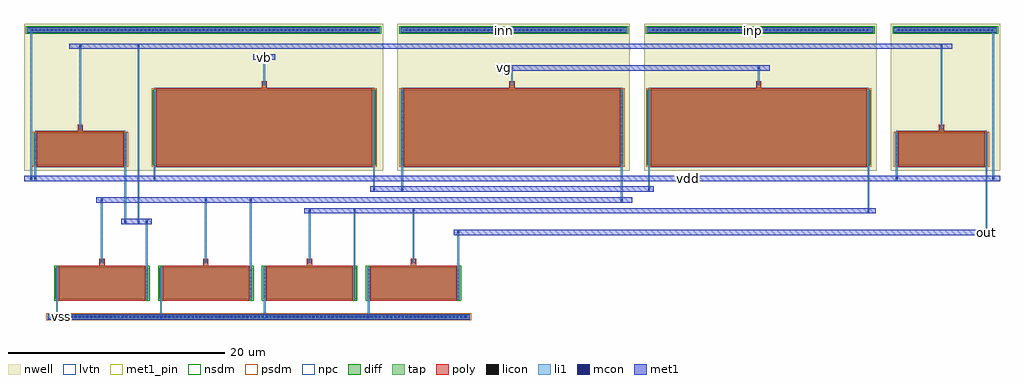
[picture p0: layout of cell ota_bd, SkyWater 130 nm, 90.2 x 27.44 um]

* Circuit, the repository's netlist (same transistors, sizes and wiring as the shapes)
* NGSPICE file created from ota_bd.ext - technology: sky130A

.subckt ota_bd inp inn out vb vg vdd vss
X0 a_400_n2506# vg a_6200_0# inn sky130_fd_pr__pfet_01v8_lvt ad=2.03 pd=14.58 as=2.03 ps=14.58 w=7 l=20
X1 a_4240_n2506# vg a_6200_0# inp sky130_fd_pr__pfet_01v8_lvt ad=2.03 pd=14.58 as=2.03 ps=14.58 w=7 l=20
X2 out a_0_n26# vdd vdd sky130_fd_pr__pfet_01v8_lvt ad=0.87 pd=6.58 as=0.87 ps=6.58 w=3 l=8
X3 a_400_n2506# a_400_n2506# vss vss sky130_fd_pr__nfet_01v8 ad=0.87 pd=6.58 as=0.87 ps=6.58 w=3 l=8
X4 out a_4240_n2506# vss vss sky130_fd_pr__nfet_01v8 ad=0.87 pd=6.58 as=0.87 ps=6.58 w=3 l=8
X5 a_6200_0# vb vdd vdd sky130_fd_pr__pfet_01v8_lvt ad=2.03 pd=14.58 as=2.03 ps=14.58 w=7 l=20
X6 a_0_n26# a_400_n2506# vss vss sky130_fd_pr__nfet_01v8 ad=0.87 pd=6.58 as=0.87 ps=6.58 w=3 l=8
X7 a_4240_n2506# a_4240_n2506# vss vss sky130_fd_pr__nfet_01v8 ad=0.87 pd=6.58 as=0.87 ps=6.58 w=3 l=8
X8 a_0_n26# a_0_n26# vdd vdd sky130_fd_pr__pfet_01v8_lvt ad=0.87 pd=6.58 as=0.87 ps=6.58 w=3 l=8
.ends

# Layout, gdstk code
import gdstk
lib = gdstk.Library(unit=1e-6, precision=1e-09)
def R(c, l, rs):  # rectangles x0, y0, x1, y1
    for r in rs: c.add(gdstk.rectangle(r[:2], r[2:], *l))
def A(c, l, x, y, w, h, nx, ny, dx, dy):  # array of equal rectangles
    R(c, l, [(x+i*dx, y+j*dy, x+i*dx+w, y+j*dy+h) for i in range(nx) for j in range(ny)])
nwell = (64, 20)
diff = (65, 20)
tap = (65, 44)
poly = (66, 20)
licon = (66, 44)
li1 = (67, 20)
mcon = (67, 44)
met1_pin = (68, 16)
met1 = (68, 20)
nsdm = (93, 44)
psdm = (94, 20)
npc = (95, 20)
lvtn = (125, 44)

ota_bd = lib.new_cell('ota_bd')
R(ota_bd, nwell, [(-1.2,-0.5,32,13.1), (33.3,-0.5,54.8,13.1), (56.1,-0.5,77.6,13.1), (78.9,-0.5,89,13.1)])
A(ota_bd, diff, 1.71, -12.4, 8.58, 3, 4, 1, 9.6, 0)
R(ota_bd, diff, [(-0.29,0,8.29,3), (10.71,0,31.29,7), (33.61,0,54.19,7), (56.41,0,76.99,7), (79.31,0,87.89,3)])
R(ota_bd, tap, [(1,-14.21,40,-13.79), (-0.9,12.29,31.7,12.71), (33.6,12.29,54.5,12.71), (56.4,12.29,77.3,12.71), (79.2,12.29,88.7,12.71)])
A(ota_bd, poly, 2, -12.53, 8, 3.26, 4, 1, 9.6, 0)
A(ota_bd, poly, 5.75, -9.27, 0.5, 0.62, 4, 1, 9.6, 0)
R(ota_bd, poly, [(0,-0.13,8,3.13), (11,-0.13,31,7.13), (33.9,-0.13,53.9,7.13), (56.7,-0.13,76.7,7.13), (79.6,-0.13,87.6,3.13), (3.75,3.13,4.25,3.75), (83.35,3.13,83.85,3.75), (20.75,7.13,21.25,7.75), (43.65,7.13,44.15,7.75), (66.45,7.13,66.95,7.75)])
A(ota_bd, licon, 1.375, -14.085, 0.17, 0.17, 113, 1, 0.34, 0)
A(ota_bd, licon, 1.77, -12.175, 0.17, 0.17, 1, 8, 0, 0.34)
A(ota_bd, licon, 10.06, -12.175, 0.17, 0.17, 1, 8, 0, 0.34)
A(ota_bd, licon, 11.37, -12.175, 0.17, 0.17, 1, 8, 0, 0.34)
A(ota_bd, licon, 19.66, -12.175, 0.17, 0.17, 1, 8, 0, 0.34)
A(ota_bd, licon, 20.97, -12.175, 0.17, 0.17, 1, 8, 0, 0.34)
A(ota_bd, licon, 29.26, -12.175, 0.17, 0.17, 1, 8, 0, 0.34)
A(ota_bd, licon, 30.57, -12.175, 0.17, 0.17, 1, 8, 0, 0.34)
A(ota_bd, licon, 38.86, -12.175, 0.17, 0.17, 1, 8, 0, 0.34)
A(ota_bd, licon, 5.915, -8.95, 0.17, 0.17, 4, 1, 9.6, 0)
A(ota_bd, licon, 10.77, 0.185, 0.17, 0.17, 1, 20, 0, 0.34)
A(ota_bd, licon, 31.06, 0.185, 0.17, 0.17, 1, 20, 0, 0.34)
A(ota_bd, licon, 33.67, 0.185, 0.17, 0.17, 1, 20, 0, 0.34)
A(ota_bd, licon, 53.96, 0.185, 0.17, 0.17, 1, 20, 0, 0.34)
A(ota_bd, licon, 56.47, 0.185, 0.17, 0.17, 1, 20, 0, 0.34)
A(ota_bd, licon, 76.76, 0.185, 0.17, 0.17, 1, 20, 0, 0.34)
A(ota_bd, licon, -0.23, 0.225, 0.17, 0.17, 1, 8, 0, 0.34)
A(ota_bd, licon, 8.06, 0.225, 0.17, 0.17, 1, 8, 0, 0.34)
A(ota_bd, licon, 79.37, 0.225, 0.17, 0.17, 1, 8, 0, 0.34)
A(ota_bd, licon, 87.66, 0.225, 0.17, 0.17, 1, 8, 0, 0.34)
A(ota_bd, licon, -0.495, 12.415, 0.17, 0.17, 94, 1, 0.34, 0)
A(ota_bd, licon, 33.935, 12.415, 0.17, 0.17, 60, 1, 0.34, 0)
A(ota_bd, licon, 56.735, 12.415, 0.17, 0.17, 60, 1, 0.34, 0)
A(ota_bd, licon, 79.615, 12.415, 0.17, 0.17, 26, 1, 0.34, 0)
R(ota_bd, licon, [(3.915,3.45,4.085,3.62), (83.515,3.45,83.685,3.62), (20.915,7.45,21.085,7.62), (43.815,7.45,43.985,7.62), (66.615,7.45,66.785,7.62)])
A(ota_bd, li1, 1.77, -14.25, 0.17, 0.165, 4, 1, 9.6, 0)
A(ota_bd, li1, 1.77, -13.915, 0.17, 4.535, 4, 1, 9.6, 0)
R(ota_bd, li1, [(1.2,-14.085,39.8,-13.915), (10.06,-12.42,10.23,-4.95), (19.66,-12.42,19.83,-2.95), (29.26,-12.42,29.43,-3.95), (38.86,-12.42,39.03,-5.95), (5.915,-9.03,6.085,-2.95), (15.515,-9.03,15.685,-2.95), (25.115,-9.03,25.285,-3.95), (34.715,-9.03,34.885,-3.95), (87.66,-6.45,87.83,3.02), (8.06,-5.45,8.23,3.02), (9.3,-5.45,9.47,11.25), (76.76,-4.45,76.93,7.02), (53.96,-3.45,54.13,7.02), (31.06,-2.45,31.23,7.02), (33.67,-2.45,33.84,7.02), (56.47,-2.45,56.64,7.02), (-0.6,-1.45,-0.43,12.415), (-0.23,-1.45,-0.06,3.02), (10.77,-1.45,10.94,7.02), (79.37,-1.45,79.54,3.02), (88.3,-1.45,88.47,12.415), (3.915,3.37,4.085,11.25), (83.515,3.37,83.685,11.25), (20.915,7.37,21.085,10.25), (43.815,7.37,43.985,9.25), (66.615,7.37,66.785,9.25), (-0.7,12.415,31.5,12.585), (33.8,12.415,54.3,12.585), (56.6,12.415,77.1,12.585), (79.4,12.415,88.5,12.585), (-0.6,12.585,-0.43,12.75), (88.3,12.585,88.47,12.75)])
A(ota_bd, mcon, 1.335, -14.085, 0.17, 0.17, 107, 1, 0.36, 0)
A(ota_bd, mcon, -0.525, 12.415, 0.17, 0.17, 89, 1, 0.36, 0)
A(ota_bd, mcon, 34.065, 12.415, 0.17, 0.17, 56, 1, 0.36, 0)
A(ota_bd, mcon, 56.865, 12.415, 0.17, 0.17, 56, 1, 0.36, 0)
A(ota_bd, mcon, 79.545, 12.415, 0.17, 0.17, 25, 1, 0.36, 0)
R(ota_bd, mcon, [(38.86,-6.285,39.03,-6.115), (87.66,-6.285,87.83,-6.115), (8.06,-5.285,8.23,-5.115), (9.3,-5.285,9.47,-5.115), (10.06,-5.285,10.23,-5.115), (25.115,-4.285,25.285,-4.115), (29.26,-4.285,29.43,-4.115), (34.715,-4.285,34.885,-4.115), (76.76,-4.285,76.93,-4.115), (5.915,-3.285,6.085,-3.115), (15.515,-3.285,15.685,-3.115), (19.66,-3.285,19.83,-3.115), (53.96,-3.285,54.13,-3.115), (31.06,-2.285,31.23,-2.115), (33.67,-2.285,33.84,-2.115), (56.47,-2.285,56.64,-2.115), (-0.6,-1.285,-0.43,-1.115), (-0.23,-1.285,-0.06,-1.115), (10.77,-1.285,10.94,-1.115), (79.37,-1.285,79.54,-1.115), (88.3,-1.285,88.47,-1.115), (43.815,8.915,43.985,9.085), (66.615,8.915,66.785,9.085), (20.915,9.915,21.085,10.085), (3.915,10.915,4.085,11.085), (9.3,10.915,9.47,11.085), (83.515,10.915,83.685,11.085)])
R(ota_bd, met1_pin, [(2,-14.25,2.5,-13.75), (87.5,-6.45,88,-5.95), (60,-1.45,60.5,-0.95), (43,8.75,43.5,9.25), (20.75,9.75,21.25,10.25), (43,12.25,43.5,12.75), (66,12.25,66.5,12.75)])
R(ota_bd, met1, [(1,-14.25,40,-13.75), (38.5,-6.45,88.2,-5.95), (7.8,-5.45,10.6,-4.95), (24.7,-4.45,77.5,-3.95), (5.5,-3.45,55,-2.95), (30.8,-2.45,57,-1.95), (-1.2,-1.45,89,-0.95), (42.9,8.75,67.7,9.25), (20,9.75,22,10.25), (3,10.75,84.6,11.25), (-0.9,12.25,31.7,12.75), (33.6,12.25,54.5,12.75), (56.4,12.25,77.3,12.75), (79.2,12.25,88.7,12.75)])
A(ota_bd, nsdm, 1.585, -12.525, 8.83, 3.25, 4, 1, 9.6, 0)
R(ota_bd, nsdm, [(-1.025,12.165,31.825,12.835), (33.475,12.165,54.625,12.835), (56.275,12.165,77.425,12.835), (79.075,12.165,88.825,12.835)])
R(ota_bd, psdm, [(0.875,-14.335,40.125,-13.665), (-0.415,-0.125,8.415,3.125), (10.585,-0.125,31.415,7.125), (33.485,-0.125,54.315,7.125), (56.285,-0.125,77.115,7.125), (79.185,-0.125,88.015,3.125)])
A(ota_bd, npc, 5.815, -9.05, 0.37, 0.37, 4, 1, 9.6, 0)
R(ota_bd, npc, [(3.815,3.35,4.185,3.72), (83.415,3.35,83.785,3.72), (20.815,7.35,21.185,7.72), (43.715,7.35,44.085,7.72), (66.515,7.35,66.885,7.72)])
R(ota_bd, lvtn, [(-0.18,-0.18,8.18,3.18), (10.82,-0.18,31.18,7.18), (33.72,-0.18,54.08,7.18), (56.52,-0.18,76.88,7.18), (79.42,-0.18,87.78,3.18)])
ota_bd.add(gdstk.Label('inp', (66.25,12.5), layer=68, texttype=5))
ota_bd.add(gdstk.Label('inn', (43.25,12.5), layer=68, texttype=5))
ota_bd.add(gdstk.Label('out', (87.75,-6.2), layer=68, texttype=5))
ota_bd.add(gdstk.Label('vb', (21,10), layer=68, texttype=5))
ota_bd.add(gdstk.Label('vg', (43.25,9), layer=68, texttype=5))
ota_bd.add(gdstk.Label('vdd', (60.25,-1.2), layer=68, texttype=5))
ota_bd.add(gdstk.Label('vss', (2.25,-14), layer=68, texttype=5))

lib.write_gds('ota_bd.gds')
